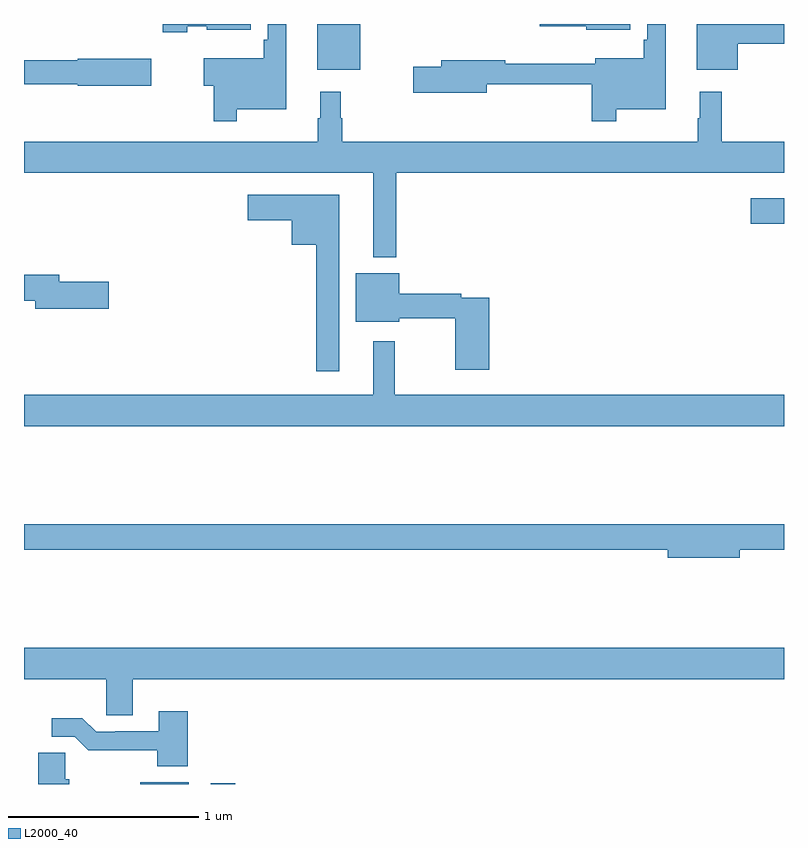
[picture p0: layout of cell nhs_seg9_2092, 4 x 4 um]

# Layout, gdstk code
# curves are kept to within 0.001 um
import gdstk
lib = gdstk.Library(unit=1e-6, precision=1e-09)
def R(c, l, rs):  # rectangles x0, y0, x1, y1
    for r in rs: c.add(gdstk.rectangle(r[:2], r[2:], *l))
def P(c, l, *ps):  # polygons
    for p in ps: c.add(gdstk.Polygon(p, *l))
L2000_40 = (2000, 40)

nhs_seg9_2092 = lib.new_cell('nhs_seg9_2092')
R(nhs_seg9_2092, L2000_40, [(229.612,1230.5,229.866,1230.508), (229.983,1230.5,230.113,1230.503), (232.824,1233.449,233,1233.583), (230.543,1234.259,230.77,1234.5)])
P(nhs_seg9_2092, L2000_40, [(232.117,1234.052),(232.378,1234.052),(232.378,1234.5),(232.281,1234.5),(232.281,1234.417),(232.261,1234.417),(232.261,1234.321),(232.007,1234.321),(232.007,1234.292),(231.532,1234.292),(231.532,1234.31),(231.197,1234.31),(231.197,1234.274),(231.048,1234.274),(231.048,1234.139),(231.436,1234.139),(231.436,1234.182),(231.988,1234.182),(231.988,1233.987),(232.117,1233.987)],
  [(230.119,1234.052),(230.38,1234.052),(230.38,1234.5),(230.283,1234.5),(230.283,1234.417),(230.263,1234.417),(230.263,1234.321),(229.946,1234.321),(229.946,1234.174),(229.998,1234.174),(229.998,1233.987),(230.119,1233.987)],
  [(232.192,1234.5),(231.714,1234.5),(231.714,1234.487),(231.96,1234.487),(231.96,1234.469),(232.192,1234.469)],
  [(229.86,1234.487),(229.962,1234.487),(229.962,1234.469),(230.194,1234.469),(230.194,1234.5),(229.73,1234.5),(229.73,1234.457),(229.86,1234.457)],
  [(232.756,1234.396),(233,1234.396),(233,1234.5),(232.541,1234.5),(232.541,1234.259),(232.756,1234.259)],
  [(229.669,1234.316),(229.284,1234.316),(229.284,1234.31),(229,1234.31),(229,1234.182),(229.284,1234.182),(229.284,1234.174),(229.669,1234.174)],
  [(230.959,1233.716),(233,1233.716),(233,1233.88),(232.673,1233.88),(232.673,1234.144),(232.556,1234.144),(232.556,1234.004),(232.545,1234.004),(232.545,1233.88),(230.675,1233.88),(230.675,1234.004),(230.668,1234.004),(230.668,1234.144),(230.558,1234.144),(230.558,1234.004),(230.547,1234.004),(230.547,1233.88),(229,1233.88),(229,1233.716),(230.837,1233.716),(230.837,1233.272),(230.959,1233.272)],
  [(230.659,1233.601),(230.178,1233.601),(230.178,1233.467),(230.408,1233.467),(230.408,1233.338),(230.538,1233.338),(230.538,1232.673),(230.659,1232.673)],
  [(231.449,1233.06),(231.302,1233.06),(231.302,1233.08),(230.974,1233.08),(230.974,1233.187),(230.747,1233.187),(230.747,1232.933),(230.974,1232.933),(230.974,1232.952),(231.271,1232.952),(231.271,1232.679),(231.449,1232.679)],
  [(229.447,1233.143),(229.186,1233.143),(229.186,1233.179),(229,1233.179),(229,1233.043),(229.058,1233.043),(229.058,1233.001),(229.447,1233.001)],
  [(233,1232.548),(230.951,1232.548),(230.951,1232.83),(230.837,1232.83),(230.837,1232.548),(229,1232.548),(229,1232.384),(233,1232.384)],
  [(232.768,1231.732),(233,1231.732),(233,1231.868),(229,1231.868),(229,1231.732),(232.388,1231.732),(232.388,1231.69),(232.768,1231.69)],
  [(229.573,1231.052),(233,1231.052),(233,1231.216),(229,1231.216),(229,1231.052),(229.434,1231.052),(229.434,1230.862),(229.573,1230.862)],
  [(229.862,1230.883),(229.709,1230.883),(229.709,1230.777),(229.48,1230.777),(229.48,1230.774),(229.38,1230.774),(229.307,1230.847),(229.146,1230.847),(229.146,1230.75),(229.266,1230.75),(229.339,1230.677),(229.702,1230.678),(229.702,1230.593),(229.862,1230.593)],
  [(229.237,1230.525),(229.218,1230.525),(229.218,1230.665),(229.076,1230.665),(229.076,1230.5),(229.237,1230.5)])

lib.write_gds('nhs_seg9_2092.gds')
